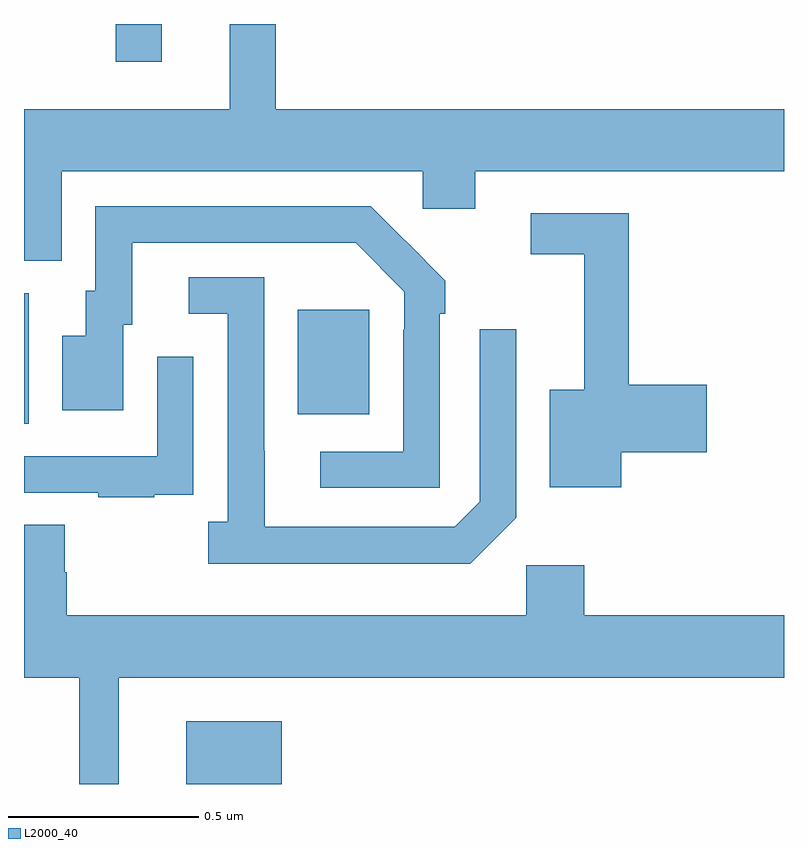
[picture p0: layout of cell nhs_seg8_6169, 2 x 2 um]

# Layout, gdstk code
import gdstk
lib = gdstk.Library(unit=1e-6, precision=1e-09)
def R(c, l, rs):  # rectangles x0, y0, x1, y1
    for r in rs: c.add(gdstk.rectangle(r[:2], r[2:], *l))
def P(c, l, *ps):  # polygons
    for p in ps: c.add(gdstk.Polygon(p, *l))
L2000_40 = (2000, 40)

nhs_seg8_6169 = lib.new_cell('nhs_seg8_6169')
R(nhs_seg8_6169, L2000_40, [(193.427,1102.9,193.678,1103.065), (193,1103.848,193.012,1104.192), (193.721,1103.873,193.909,1104.148), (193.242,1104.801,193.363,1104.9)])
P(nhs_seg8_6169, L2000_40, [(193.099,1104.512),(194.049,1104.512),(194.049,1104.414),(194.188,1104.414),(194.188,1104.512),(195,1104.512),(195,1104.676),(193.663,1104.676),(193.663,1104.9),(193.541,1104.9),(193.541,1104.676),(193,1104.676),(193,1104.277),(193.099,1104.277)],
  [(194.094,1104.137),(194.109,1104.137),(194.109,1104.225),(194.004,1104.33),(194.003,1104.329),(193.912,1104.42),(193.188,1104.42),(193.188,1104.198),(193.163,1104.198),(193.163,1104.079),(193.1,1104.079),(193.1,1103.883),(193.261,1103.883),(193.261,1104.108),(193.285,1104.108),(193.285,1104.324),(193.873,1104.324),(194.001,1104.195),(194.001,1104.095),(193.998,1104.095),(193.998,1103.775),(193.779,1103.775),(193.779,1103.679),(194.094,1103.679)],
  [(194.572,1103.773),(194.797,1103.773),(194.797,1103.951),(194.591,1103.951),(194.591,1104.402),(194.334,1104.402),(194.334,1104.294),(194.474,1104.294),(194.474,1103.938),(194.384,1103.938),(194.384,1103.681),(194.572,1103.681)],
  [(194.295,1103.601),(194.295,1104.097),(194.199,1104.097),(194.199,1103.643),(194.133,1103.577),(193.633,1103.577),(193.633,1103.777),(193.632,1103.777),(193.632,1104.234),(193.434,1104.234),(193.434,1104.138),(193.536,1104.138),(193.536,1103.59),(193.485,1103.59),(193.485,1103.48),(194.174,1103.48)],
  [(193.343,1103.661),(193.445,1103.661),(193.445,1103.77),(193.446,1103.77),(193.446,1104.025),(193.35,1104.025),(193.35,1103.763),(193,1103.763),(193,1103.667),(193.195,1103.667),(193.195,1103.655),(193.343,1103.655)],
  [(193.249,1103.18),(195,1103.18),(195,1103.344),(194.474,1103.344),(194.474,1103.476),(194.322,1103.476),(194.322,1103.344),(193.112,1103.344),(193.112,1103.457),(193.107,1103.457),(193.107,1103.582),(193,1103.582),(193,1103.18),(193.145,1103.18),(193.145,1102.9),(193.249,1102.9)])

lib.write_gds('nhs_seg8_6169.gds')
